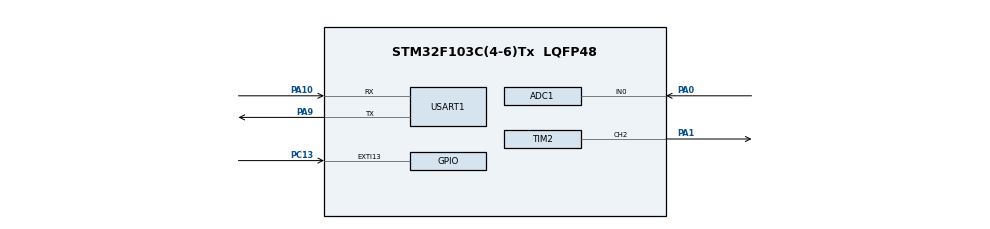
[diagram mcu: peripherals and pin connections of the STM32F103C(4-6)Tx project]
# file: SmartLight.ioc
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ADC1.Channel-0\#ChannelRegularConversion=ADC_CHANNEL_0
ADC1.NbrOfConversionFlag=1
ADC1.Rank-0\#ChannelRegularConversion=1
ADC1.SamplingTime-0\#ChannelRegularConversion=ADC_SAMPLETIME_1CYCLE_5
ADC1.master=1
Mcu.Family=STM32F1
Mcu.Name=STM32F103C(4-6)Tx
Mcu.Package=LQFP48
NVIC.EXTI15_10_IRQn=true\:0\:0\:false\:false\:true\:true\:true\:true
NVIC.PriorityGroup=NVIC_PRIORITYGROUP_4
PA0-WKUP.Signal=ADCx_IN0
PA1.Signal=S_TIM2_CH2
PA10.Mode=Asynchronous
PA10.Signal=USART1_RX
PA13.Mode=Serial_Wire
PA13.Signal=SYS_JTMS-SWDIO
PA14.Mode=Serial_Wire
PA14.Signal=SYS_JTCK-SWCLK
PA9.Mode=Asynchronous
PA9.Signal=USART1_TX
PC13-TAMPER-RTC.GPIO_ModeDefaultEXTI=GPIO_MODE_IT_FALLING
PC13-TAMPER-RTC.GPIO_PuPd=GPIO_PULLUP
PC13-TAMPER-RTC.Signal=GPXTI13
ProjectManager.HeapSize=0x200
ProjectManager.StackSize=0x400
ProjectManager.TargetToolchain=STM32CubeIDE
RCC.APB1Freq_Value=8000000
RCC.APB2Freq_Value=8000000
SH.ADCx_IN0.0=ADC1_IN0,IN0
SH.S_TIM2_CH2.0=TIM2_CH2,PWM Generation2 CH2
TIM2.Channel-PWM\ Generation2\ CH2=TIM_CHANNEL_2
TIM2.Prescaler=79
USART1.VirtualMode=VM_ASYNC
board=custom

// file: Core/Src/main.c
/* USER CODE BEGIN Header */
/**
  ******************************************************************************
  * @file           : main.c
  * @brief          : Main program body
  ******************************************************************************
  * @attention
  *
  * Copyright (c) 2026 STMicroelectronics.
  * All rights reserved.
  *
  * This software is licensed under terms that can be found in the LICENSE file
  * in the root directory of this software component.
  * If no LICENSE file comes with this software, it is provided AS-IS.
  *
  ******************************************************************************
  */
/* USER CODE END Header */
#include "main.h"

ADC_HandleTypeDef hadc1;

TIM_HandleTypeDef htim2;

UART_HandleTypeDef huart1;

/* USER CODE BEGIN PV */
// متغیرهای پروژه
uint16_t adc_val = 0;
uint8_t brightness = 0;
volatile uint8_t system_off = 0; // 0: روشن، 1: خاموش اضطراری
/* USER CODE END PV */

void SystemClock_Config(void);
static void MX_GPIO_Init(void);
static void MX_ADC1_Init(void);
static void MX_TIM2_Init(void);
static void MX_USART1_UART_Init(void);

int main(void)
{

  /* MCU Configuration--------------------------------------------------------*/

  /* Reset of all peripherals, Initializes the Flash interface and the Systick. */
  HAL_Init();

  /* Configure the system clock */
  SystemClock_Config();

  /* Initialize all configured peripherals */
  MX_GPIO_Init();
  MX_ADC1_Init();
  MX_TIM2_Init();
  MX_USART1_UART_Init();
  /* USER CODE BEGIN 2 */

  // --- بخش ضد‌ضربه (تنظیم زورکی تایمر) ---
  // این دو خط باعث می‌شود حتی اگر تنظیمات ioc خراب شد، اینجا درست شود
  __HAL_TIM_SET_PRESCALER(&htim2, 79);
  __HAL_TIM_SET_AUTORELOAD(&htim2, 99);

  // روشن کردن PWM
  HAL_TIM_PWM_Start(&htim2, TIM_CHANNEL_2);

  // پیام شروع
  HAL_UART_Transmit(&huart1, (uint8_t*)"System Ready! Turn Potentiometer...\r\n", 37, 100);

  /* USER CODE END 2 */

  /* Infinite loop */
  while (1)
  {

    /* USER CODE BEGIN 3 */
    if (system_off == 1)
    {
        // --- وضعیت خاموش ---
        __HAL_TIM_SET_COMPARE(&htim2, TIM_CHANNEL_2, 0);
    }
    else
    {
        // --- وضعیت روشن (دیمر) ---
        HAL_ADC_Start(&hadc1);
        HAL_ADC_PollForConversion(&hadc1, 10);
        adc_val = HAL_ADC_GetValue(&hadc1);

        // فرمول اصلاح شده (جلوگیری از باگ پرش نور)
        // ضربدر 99 می‌کنیم چون سقف تایمر ما الان 99 است
        uint32_t calc = (uint32_t)adc_val * 99;
        brightness = (uint8_t)(calc / 4095);

        __HAL_TIM_SET_COMPARE(&htim2, TIM_CHANNEL_2, brightness);
    }

    HAL_Delay(50); // کمی مکث برای ثبات
  }
  /* USER CODE END 3 */
}

void SystemClock_Config(void)
{
  RCC_OscInitTypeDef RCC_OscInitStruct = {0};
  RCC_ClkInitTypeDef RCC_ClkInitStruct = {0};
  RCC_PeriphCLKInitTypeDef PeriphClkInit = {0};

  /** Initializes the RCC Oscillators according to the specified parameters
  * in the RCC_OscInitTypeDef structure.
  */
  RCC_OscInitStruct.OscillatorType = RCC_OSCILLATORTYPE_HSI;
  RCC_OscInitStruct.HSIState = RCC_HSI_ON;
  RCC_OscInitStruct.HSICalibrationValue = RCC_HSICALIBRATION_DEFAULT;
  RCC_OscInitStruct.PLL.PLLState = RCC_PLL_NONE;
  if (HAL_RCC_OscConfig(&RCC_OscInitStruct) != HAL_OK)
  {
    Error_Handler();
  }

  /** Initializes the CPU, AHB and APB buses clocks
  */
  RCC_ClkInitStruct.ClockType = RCC_CLOCKTYPE_HCLK|RCC_CLOCKTYPE_SYSCLK
                              |RCC_CLOCKTYPE_PCLK1|RCC_CLOCKTYPE_PCLK2;
  RCC_ClkInitStruct.SYSCLKSource = RCC_SYSCLKSOURCE_HSI;
  RCC_ClkInitStruct.AHBCLKDivider = RCC_SYSCLK_DIV1;
  RCC_ClkInitStruct.APB1CLKDivider = RCC_HCLK_DIV1;
  RCC_ClkInitStruct.APB2CLKDivider = RCC_HCLK_DIV1;

  if (HAL_RCC_ClockConfig(&RCC_ClkInitStruct, FLASH_LATENCY_0) != HAL_OK)
  {
    Error_Handler();
  }
  PeriphClkInit.PeriphClockSelection = RCC_PERIPHCLK_ADC;
  PeriphClkInit.AdcClockSelection = RCC_ADCPCLK2_DIV2;
  if (HAL_RCCEx_PeriphCLKConfig(&PeriphClkInit) != HAL_OK)
  {
    Error_Handler();
  }
}

static void MX_ADC1_Init(void)
{
  ADC_ChannelConfTypeDef sConfig = {0};

  hadc1.Instance = ADC1;
  hadc1.Init.ScanConvMode = ADC_SCAN_DISABLE;
  hadc1.Init.ContinuousConvMode = DISABLE;
  hadc1.Init.DiscontinuousConvMode = DISABLE;
  hadc1.Init.ExternalTrigConv = ADC_SOFTWARE_START;
  hadc1.Init.DataAlign = ADC_DATAALIGN_RIGHT;
  hadc1.Init.NbrOfConversion = 1;
  if (HAL_ADC_Init(&hadc1) != HAL_OK)
  {
    Error_Handler();
  }

  sConfig.Channel = ADC_CHANNEL_0;
  sConfig.Rank = ADC_REGULAR_RANK_1;
  sConfig.SamplingTime = ADC_SAMPLETIME_1CYCLE_5;
  if (HAL_ADC_ConfigChannel(&hadc1, &sConfig) != HAL_OK)
  {
    Error_Handler();
  }
}

static void MX_TIM2_Init(void)
{
  TIM_MasterConfigTypeDef sMasterConfig = {0};
  TIM_OC_InitTypeDef sConfigOC = {0};

  htim2.Instance = TIM2;
  htim2.Init.Prescaler = 79;
  htim2.Init.CounterMode = TIM_COUNTERMODE_UP;
  htim2.Init.Period = 99; // اینجا هم گذاشتم محض احتیاط
  htim2.Init.ClockDivision = TIM_CLOCKDIVISION_DIV1;
  htim2.Init.AutoReloadPreload = TIM_AUTORELOAD_PRELOAD_DISABLE;
  if (HAL_TIM_PWM_Init(&htim2) != HAL_OK)
  {
    Error_Handler();
  }
  sMasterConfig.MasterOutputTrigger = TIM_TRGO_RESET;
  sMasterConfig.MasterSlaveMode = TIM_MASTERSLAVEMODE_DISABLE;
  if (HAL_TIMEx_MasterConfigSynchronization(&htim2, &sMasterConfig) != HAL_OK)
  {
    Error_Handler();
  }
  sConfigOC.OCMode = TIM_OCMODE_PWM1;
  sConfigOC.Pulse = 0;
  sConfigOC.OCPolarity = TIM_OCPOLARITY_HIGH;
  sConfigOC.OCFastMode = TIM_OCFAST_DISABLE;
  if (HAL_TIM_PWM_ConfigChannel(&htim2, &sConfigOC, TIM_CHANNEL_2) != HAL_OK)
  {
    Error_Handler();
  }
  HAL_TIM_MspPostInit(&htim2);
}

static void MX_USART1_UART_Init(void)
{
  huart1.Instance = USART1;
  huart1.Init.BaudRate = 115200;
  huart1.Init.WordLength = UART_WORDLENGTH_8B;
  huart1.Init.StopBits = UART_STOPBITS_1;
  huart1.Init.Parity = UART_PARITY_NONE;
  huart1.Init.Mode = UART_MODE_TX_RX;
  huart1.Init.HwFlowCtl = UART_HWCONTROL_NONE;
  huart1.Init.OverSampling = UART_OVERSAMPLING_16;
  if (HAL_UART_Init(&huart1) != HAL_OK)
  {
    Error_Handler();
  }
}

static void MX_GPIO_Init(void)
{
  GPIO_InitTypeDef GPIO_InitStruct = {0};

  /* GPIO Ports Clock Enable */
  __HAL_RCC_GPIOC_CLK_ENABLE();
  __HAL_RCC_GPIOD_CLK_ENABLE();
  __HAL_RCC_GPIOA_CLK_ENABLE();

  /*Configure GPIO pin : PC13 */
  GPIO_InitStruct.Pin = GPIO_PIN_13;
  GPIO_InitStruct.Mode = GPIO_MODE_IT_FALLING;
  GPIO_InitStruct.Pull = GPIO_PULLUP; // اصلاح شد: پول آپ برای دکمه
  HAL_GPIO_Init(GPIOC, &GPIO_InitStruct);

  /* EXTI interrupt init*/
  HAL_NVIC_SetPriority(EXTI15_10_IRQn, 0, 0);
  HAL_NVIC_EnableIRQ(EXTI15_10_IRQn);
}

/* USER CODE BEGIN 4 */
void HAL_GPIO_EXTI_Callback(uint16_t GPIO_Pin)
{
  if(GPIO_Pin == GPIO_PIN_13)
  {
    system_off = !system_off;

    if(system_off)
        HAL_UART_Transmit(&huart1, (uint8_t*)"\r\n!!! SHUTDOWN !!!\r\n", 20, 100);
    else
        HAL_UART_Transmit(&huart1, (uint8_t*)"\r\nSystem Resumed.\r\n", 19, 100);
  }
}
/* USER CODE END 4 */

void Error_Handler(void)
{
  __disable_irq();
  while (1)
  {
  }
}
